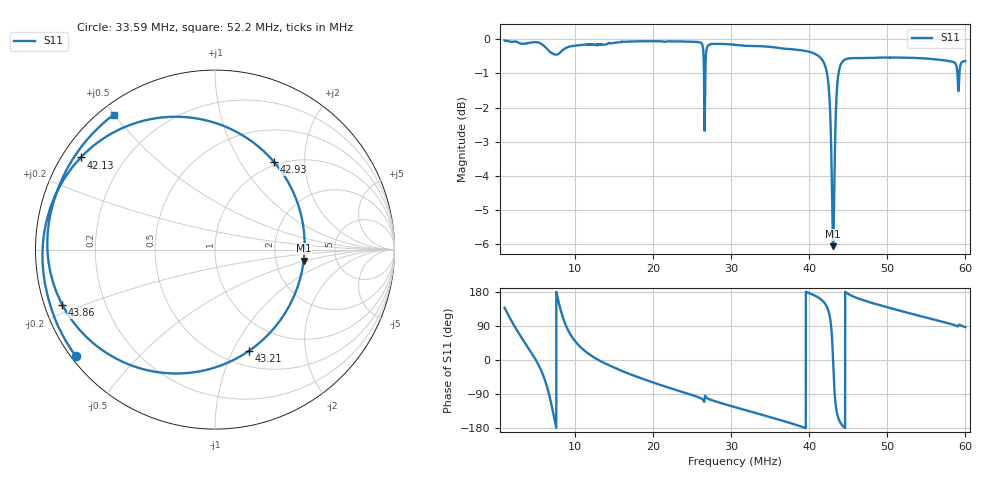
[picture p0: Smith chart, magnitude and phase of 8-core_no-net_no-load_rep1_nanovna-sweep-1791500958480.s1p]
! NanoVNA Web complex sweep
! Processing: unaveraged complex samples; linear segment spacing; no smoothing
# Hz S RI R 50
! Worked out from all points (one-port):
!   5050 points, 1 MHz to 60 MHz, reference 50 ohm
!   lowest |S11| = -6.1 dB at 43.07 MHz (marker M1), VSWR 2.99, Z = 145 - j23.5 ohm
!   |S11| at or under -10 dB: nowhere
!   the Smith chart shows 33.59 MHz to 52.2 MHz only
!   S11 on the Smith chart (normalised r, x): 33.59 MHz: 0.01, -0.34; 42.13 MHz: 0.05, +0.31; 42.93 MHz: 0.95, +1.42; 43.21 MHz: 0.66, -1.15; 43.86 MHz: 0.05, -0.18; 52.2 MHz: 0.04, +0.50
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1000000  -0.7384 0.6673
2612530  0.2188 0.9658
4622350  0.9635 0.2238
5755795  0.8409 -0.5095
6655540  0.0392 -0.9609
7064515  -0.5345 -0.7897
7531915  -0.9367 -0.1516
7894150  -0.861 0.4049
8384920  -0.438 0.8568
9494995  0.4101 0.8858
1.08154e7  0.8301 0.5215
1.575816e7  0.8838 -0.4451
2.313139e7  0.1669 -0.978
3.050462e7  -0.5566 -0.8079
3.358946e7  -0.7747 -0.5946
3.787786e7  -0.9463 -0.1959
4.084585e7  -0.9313 0.1871
4.21312e7  -0.7478 0.5134
4.264534e7  -0.32 0.7331
4.292578e7  0.3291 0.4883
4.3066e7  0.4944 -0.0609
4.320622e7  0.1869 -0.566
4.34516e7  -0.4913 -0.6353
4.386058e7  -0.8499 -0.3088
4.52511e7  -0.927 0.1389
5.220367e7  -0.5633 0.7521
5.262433e7  -0.5328 0.7739
5.999756e7  0.0505 0.9275
